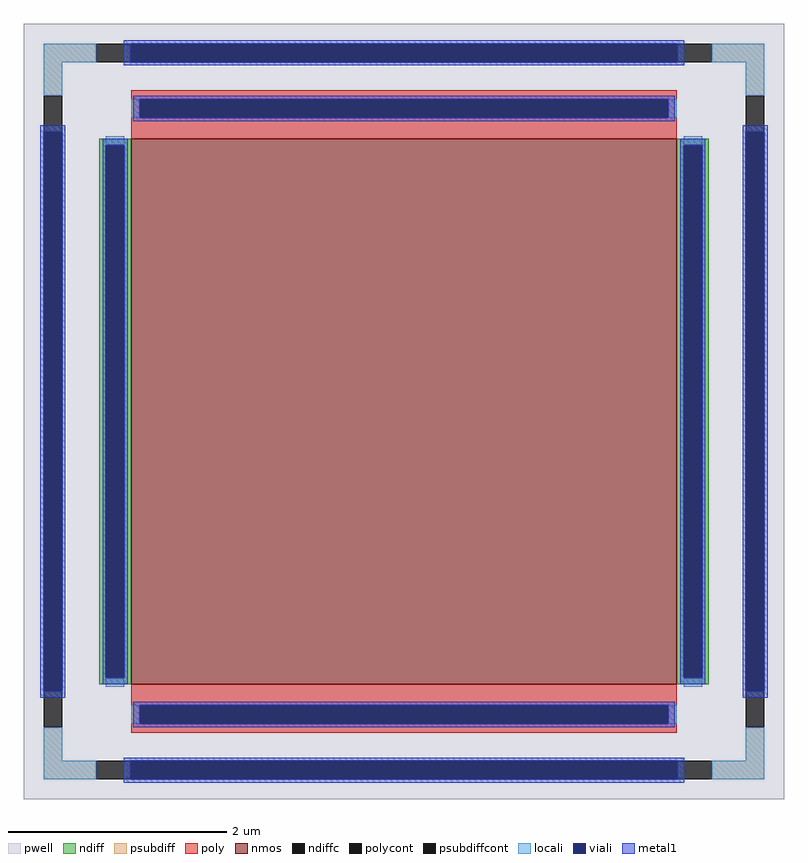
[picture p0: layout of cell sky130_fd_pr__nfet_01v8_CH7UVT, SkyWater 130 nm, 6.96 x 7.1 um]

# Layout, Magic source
magic
tech sky130A
magscale 1 2
<< pwell >>
rect -696 -710 696 710
<< nmos >>
rect -500 -500 500 500
<< ndiff >>
rect -558 488 -500 500
rect -558 -488 -546 488
rect -512 -488 -500 488
rect -558 -500 -500 -488
rect 500 488 558 500
rect 500 -488 512 488
rect 546 -488 558 488
rect 500 -500 558 -488
<< ndiffc >>
rect -546 -488 -512 488
rect 512 -488 546 488
<< psubdiff >>
rect -660 640 -564 674
rect 564 640 660 674
rect -660 578 -626 640
rect 626 578 660 640
rect -660 -640 -626 -578
rect 626 -640 660 -578
rect -660 -674 -564 -640
rect 564 -674 660 -640
<< psubdiffcont >>
rect -564 640 564 674
rect -660 -578 -626 578
rect 626 -578 660 578
rect -564 -674 564 -640
<< poly >>
rect -500 572 500 588
rect -500 538 -484 572
rect 484 538 500 572
rect -500 500 500 538
rect -500 -538 500 -500
rect -500 -572 -484 -538
rect 484 -572 500 -538
rect -500 -588 500 -572
<< polycont >>
rect -484 538 484 572
rect -484 -572 484 -538
<< locali >>
rect -660 640 -564 674
rect 564 640 660 674
rect -660 578 -626 640
rect 626 578 660 640
rect -500 538 -484 572
rect 484 538 500 572
rect -546 488 -512 504
rect -546 -504 -512 -488
rect 512 488 546 504
rect 512 -504 546 -488
rect -500 -572 -484 -538
rect 484 -572 500 -538
rect -660 -640 -626 -578
rect 626 -640 660 -578
rect -660 -674 -564 -640
rect 564 -674 660 -640
<< viali >>
rect -501 640 501 674
rect -484 538 484 572
rect -660 -512 -626 512
rect -546 -488 -512 488
rect 512 -488 546 488
rect 626 -512 660 512
rect -484 -572 484 -538
rect -501 -674 501 -640
<< metal1 >>
rect -513 674 513 680
rect -513 640 -501 674
rect 501 640 513 674
rect -513 634 513 640
rect -496 572 496 578
rect -496 538 -484 572
rect 484 538 496 572
rect -496 532 496 538
rect -666 512 -620 524
rect -666 -512 -660 512
rect -626 -512 -620 512
rect 620 512 666 524
rect -552 488 -506 500
rect -552 -488 -546 488
rect -512 -488 -506 488
rect -552 -500 -506 -488
rect 506 488 552 500
rect 506 -488 512 488
rect 546 -488 552 488
rect 506 -500 552 -488
rect -666 -524 -620 -512
rect 620 -512 626 512
rect 660 -512 666 512
rect 620 -524 666 -512
rect -496 -538 496 -532
rect -496 -572 -484 -538
rect 484 -572 496 -538
rect -496 -578 496 -572
rect -513 -640 513 -634
rect -513 -674 -501 -640
rect 501 -674 513 -640
rect -513 -680 513 -674
<< properties >>
string FIXED_BBOX -643 -657 643 657
string gencell sky130_fd_pr__nfet_01v8
string library sky130
string parameters w 5 l 5 m 1 nf 1 diffcov 100 polycov 100 guard 1 glc 1 grc 1 gtc 1 gbc 1 tbcov 100 rlcov 100 topc 1 botc 1 poverlap 0 doverlap 1 lmin 0.15 wmin 0.42 compatible {sky130_fd_pr__nfet_01v8 sky130_fd_pr__nfet_01v8_lvt  sky130_fd_bs_flash__special_sonosfet_star  sky130_fd_pr__nfet_g5v0d10v5 sky130_fd_pr__nfet_05v0_nvt  sky130_fd_pr__nfet_03v3_nvt} full_metal 1 viasrc 100 viadrn 100 viagate 100 viagb 80 viagr 80 viagl 80 viagt 80
<< end >>
